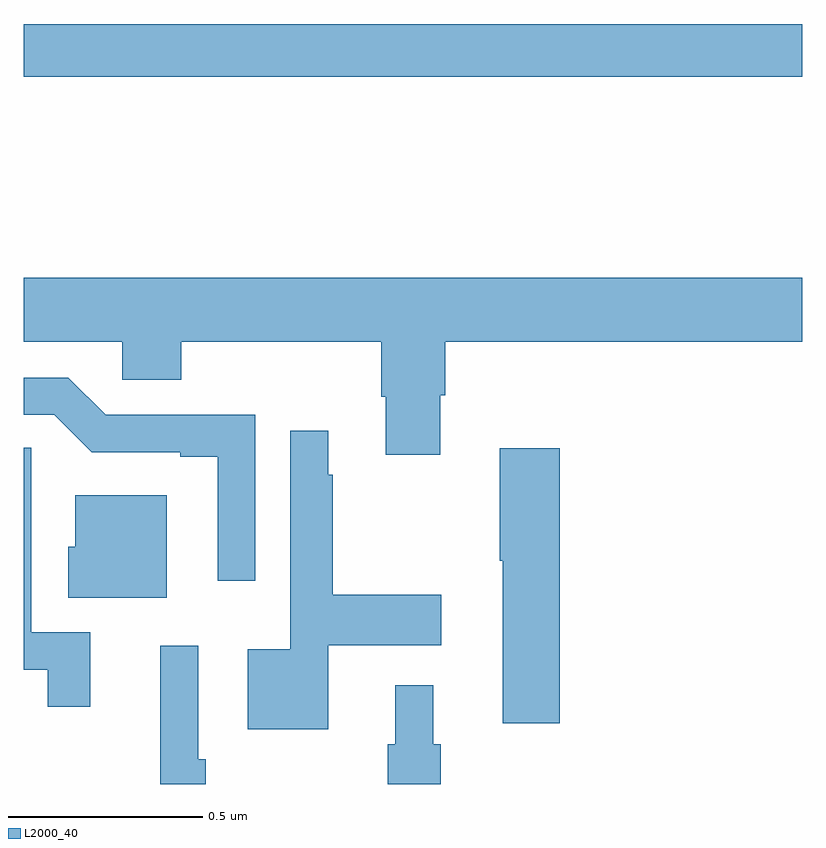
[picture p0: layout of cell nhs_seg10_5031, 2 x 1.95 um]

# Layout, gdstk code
import gdstk
lib = gdstk.Library(unit=1e-6, precision=1e-09)
def R(c, l, rs):  # rectangles x0, y0, x1, y1
    for r in rs: c.add(gdstk.rectangle(r[:2], r[2:], *l))
def P(c, l, *ps):  # polygons
    for p in ps: c.add(gdstk.Polygon(p, *l))
L2000_40 = (2000, 40)

nhs_seg10_5031 = lib.new_cell('nhs_seg10_5031')
R(nhs_seg10_5031, L2000_40, [(173,1314.316,175,1314.452)])
P(nhs_seg10_5031, L2000_40, [(174.07,1313.499),(174.083,1313.499),(174.083,1313.636),(175,1313.636),(175,1313.8),(173,1313.8),(173,1313.636),(173.253,1313.636),(173.253,1313.538),(173.405,1313.538),(173.405,1313.636),(173.918,1313.636),(173.918,1313.494),(173.93,1313.494),(173.93,1313.346),(174.07,1313.346)],
  [(173.595,1313.448),(173.211,1313.448),(173.115,1313.544),(173,1313.544),(173,1313.448),(173.079,1313.448),(173.175,1313.352),(173.402,1313.352),(173.402,1313.34),(173.498,1313.34),(173.498,1313.022),(173.595,1313.022)],
  [(173.782,1312.856),(174.073,1312.856),(174.073,1312.986),(173.794,1312.986),(173.794,1313.294),(173.782,1313.294),(173.782,1313.407),(173.685,1313.407),(173.685,1312.846),(173.576,1312.846),(173.576,1312.64),(173.782,1312.64)],
  [(173.171,1312.89),(173.02,1312.89),(173.02,1313.252),(173.019,1313.252),(173.019,1313.363),(173,1313.363),(173,1312.794),(173.062,1312.794),(173.062,1312.698),(173.171,1312.698)],
  [(174.377,1313.362),(174.223,1313.362),(174.223,1313.074),(174.23,1313.074),(174.23,1312.656),(174.377,1312.656)],
  [(173.368,1313.242),(173.132,1313.242),(173.132,1313.109),(173.114,1313.109),(173.114,1312.979),(173.368,1312.979)],
  [(173.468,1312.564),(173.448,1312.564),(173.448,1312.855),(173.351,1312.855),(173.351,1312.5),(173.468,1312.5)],
  [(174.071,1312.602),(174.052,1312.602),(174.052,1312.753),(173.954,1312.753),(173.954,1312.602),(173.935,1312.602),(173.935,1312.5),(174.071,1312.5)])

lib.write_gds('nhs_seg10_5031.gds')
